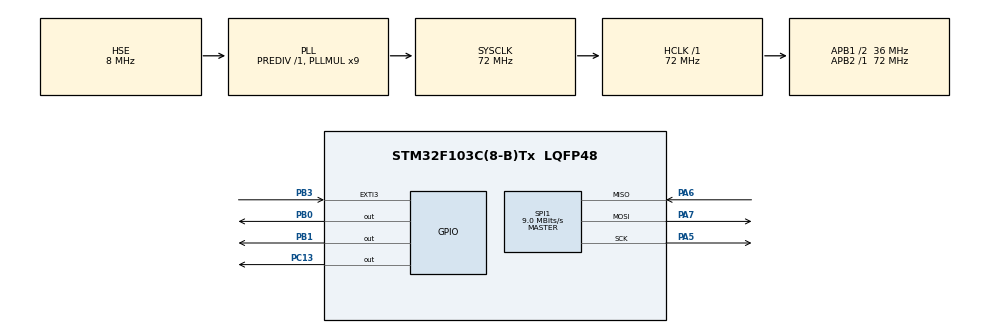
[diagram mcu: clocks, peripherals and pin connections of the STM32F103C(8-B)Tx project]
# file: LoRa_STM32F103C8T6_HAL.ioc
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Mcu.Family=STM32F1
Mcu.Name=STM32F103C(8-B)Tx
Mcu.Package=LQFP48
NVIC.EXTI3_IRQn=true\:0\:0\:false\:false\:true\:true\:true\:true
NVIC.PriorityGroup=NVIC_PRIORITYGROUP_4
PA13.Mode=Serial_Wire
PA13.Signal=SYS_JTMS-SWDIO
PA14.Mode=Serial_Wire
PA14.Signal=SYS_JTCK-SWCLK
PA5.Mode=Full_Duplex_Master
PA5.Signal=SPI1_SCK
PA6.Mode=Full_Duplex_Master
PA6.Signal=SPI1_MISO
PA7.Mode=Full_Duplex_Master
PA7.Signal=SPI1_MOSI
PB0.Signal=GPIO_Output
PB1.Signal=GPIO_Output
PB3.Signal=GPXTI3
PC13-TAMPER-RTC.Signal=GPIO_Output
PD0-OSC_IN.Mode=HSE-External-Oscillator
PD0-OSC_IN.Signal=RCC_OSC_IN
PD1-OSC_OUT.Mode=HSE-External-Oscillator
PD1-OSC_OUT.Signal=RCC_OSC_OUT
ProjectManager.HeapSize=0x200
ProjectManager.StackSize=0x400
ProjectManager.TargetToolchain=MDK-ARM V5.32
RCC.AHBFreq_Value=72000000
RCC.APB1CLKDivider=RCC_HCLK_DIV2
RCC.APB1Freq_Value=36000000
RCC.APB1TimFreq_Value=72000000
RCC.APB2Freq_Value=72000000
RCC.APB2TimFreq_Value=72000000
RCC.HCLKFreq_Value=72000000
RCC.PLLMUL=RCC_PLL_MUL9
RCC.PLLSourceVirtual=RCC_PLLSOURCE_HSE
RCC.SYSCLKFreq_VALUE=72000000
RCC.SYSCLKSource=RCC_SYSCLKSOURCE_PLLCLK
RCC.USBFreq_Value=72000000
SPI1.BaudRatePrescaler=SPI_BAUDRATEPRESCALER_8
SPI1.CalculateBaudRate=9.0 MBits/s
SPI1.Direction=SPI_DIRECTION_2LINES
SPI1.Mode=SPI_MODE_MASTER
SPI1.VirtualType=VM_MASTER
board=custom

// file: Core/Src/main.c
/* USER CODE BEGIN Header */
/**
  ******************************************************************************
  * @file           : main.c
  * @brief          : Main program body
  ******************************************************************************
  * @attention
  *
  * Copyright (c) 2024 STMicroelectronics.
  * All rights reserved.
  *
  * This software is licensed under terms that can be found in the LICENSE file
  * in the root directory of this software component.
  * If no LICENSE file comes with this software, it is provided AS-IS.
  *
  ******************************************************************************
  */
/* USER CODE END Header */
#include "main.h"

/* USER CODE BEGIN Includes */
#include "LoRa.h"
/* USER CODE END Includes */

SPI_HandleTypeDef hspi1;

void SystemClock_Config(void);
static void MX_GPIO_Init(void);
static void MX_SPI1_Init(void);

/* USER CODE BEGIN 0 */
LoRa myLoRa;
uint8_t TxBuffer[128];
uint8_t RxBuffer[128];
/* USER CODE END 0 */

int main(void)
{

  /* MCU Configuration--------------------------------------------------------*/

  /* Reset of all peripherals, Initializes the Flash interface and the Systick. */
  HAL_Init();

  /* Configure the system clock */
  SystemClock_Config();

  /* Initialize all configured peripherals */
  MX_GPIO_Init();
  MX_SPI1_Init();
  /* USER CODE BEGIN 2 */
	myLoRa.CS_port         = GPIOB;
  myLoRa.CS_pin          = GPIO_PIN_0;
  myLoRa.reset_port      = GPIOB;
  myLoRa.reset_pin       = GPIO_PIN_1;
  myLoRa.DIO0_port       = GPIOB;
  myLoRa.DIO0_pin        = GPIO_PIN_3;
  myLoRa.hSPIx           = &hspi1;

	myLoRa.frequency             = 433       ;
	myLoRa.spredingFactor        = SF_7      ;
	myLoRa.bandWidth			   = BW_125KHz ;
	myLoRa.crcRate               = CR_4_5    ;
	myLoRa.power				   = POWER_20db;
	myLoRa.overCurrentProtection = 100       ;
	myLoRa.preamble			   = 8 ;
	if( LoRa_init(&myLoRa) == LORA_NOT_FOUND) {
		for(uint8_t i =0; i < 10; i++) {
			HAL_GPIO_TogglePin(GPIOC,GPIO_PIN_13);
			HAL_Delay(100);
			}
		}
	else if(LoRa_init(&myLoRa) == LORA_OK) {
			for(uint8_t i =0; i < 10; i++) {
			HAL_GPIO_TogglePin(GPIOC,GPIO_PIN_13);
			HAL_Delay(500);
			}
		}
	else if(LoRa_init(&myLoRa) == LORA_LARGE_PAYLOAD) {
			for(uint8_t i =0; i < 4; i++) {
			HAL_GPIO_TogglePin(GPIOC,GPIO_PIN_13);
			HAL_Delay(2000);
			}
		}

	LoRa_startReceiving(&myLoRa);
	TxBuffer[0] = 'M'; TxBuffer[0] = 'i'; TxBuffer[0] = 'n'; TxBuffer[0] = 'h';
	TxBuffer[0] = 'N'; TxBuffer[0] = 'h'; TxBuffer[0] = 'a'; TxBuffer[0] = 'n';

  /* USER CODE END 2 */

  /* Infinite loop */
  while (1)
  {

    /* USER CODE BEGIN 3 */
		LoRa_transmit(&myLoRa,TxBuffer,8,100);
		HAL_Delay(500);
  }
  /* USER CODE END 3 */
}

void SystemClock_Config(void)
{
  RCC_OscInitTypeDef RCC_OscInitStruct = {0};
  RCC_ClkInitTypeDef RCC_ClkInitStruct = {0};

  /** Initializes the RCC Oscillators according to the specified parameters
  * in the RCC_OscInitTypeDef structure.
  */
  RCC_OscInitStruct.OscillatorType = RCC_OSCILLATORTYPE_HSE;
  RCC_OscInitStruct.HSEState = RCC_HSE_ON;
  RCC_OscInitStruct.HSEPredivValue = RCC_HSE_PREDIV_DIV1;
  RCC_OscInitStruct.HSIState = RCC_HSI_ON;
  RCC_OscInitStruct.PLL.PLLState = RCC_PLL_ON;
  RCC_OscInitStruct.PLL.PLLSource = RCC_PLLSOURCE_HSE;
  RCC_OscInitStruct.PLL.PLLMUL = RCC_PLL_MUL9;
  if (HAL_RCC_OscConfig(&RCC_OscInitStruct) != HAL_OK)
  {
    Error_Handler();
  }

  /** Initializes the CPU, AHB and APB buses clocks
  */
  RCC_ClkInitStruct.ClockType = RCC_CLOCKTYPE_HCLK|RCC_CLOCKTYPE_SYSCLK
                              |RCC_CLOCKTYPE_PCLK1|RCC_CLOCKTYPE_PCLK2;
  RCC_ClkInitStruct.SYSCLKSource = RCC_SYSCLKSOURCE_PLLCLK;
  RCC_ClkInitStruct.AHBCLKDivider = RCC_SYSCLK_DIV1;
  RCC_ClkInitStruct.APB1CLKDivider = RCC_HCLK_DIV2;
  RCC_ClkInitStruct.APB2CLKDivider = RCC_HCLK_DIV1;

  if (HAL_RCC_ClockConfig(&RCC_ClkInitStruct, FLASH_LATENCY_2) != HAL_OK)
  {
    Error_Handler();
  }
}

static void MX_SPI1_Init(void)
{

  /* SPI1 parameter configuration*/
  hspi1.Instance = SPI1;
  hspi1.Init.Mode = SPI_MODE_MASTER;
  hspi1.Init.Direction = SPI_DIRECTION_2LINES;
  hspi1.Init.DataSize = SPI_DATASIZE_8BIT;
  hspi1.Init.CLKPolarity = SPI_POLARITY_LOW;
  hspi1.Init.CLKPhase = SPI_PHASE_1EDGE;
  hspi1.Init.NSS = SPI_NSS_SOFT;
  hspi1.Init.BaudRatePrescaler = SPI_BAUDRATEPRESCALER_8;
  hspi1.Init.FirstBit = SPI_FIRSTBIT_MSB;
  hspi1.Init.TIMode = SPI_TIMODE_DISABLE;
  hspi1.Init.CRCCalculation = SPI_CRCCALCULATION_DISABLE;
  hspi1.Init.CRCPolynomial = 10;
  if (HAL_SPI_Init(&hspi1) != HAL_OK)
  {
    Error_Handler();
  }

}

static void MX_GPIO_Init(void)
{
  GPIO_InitTypeDef GPIO_InitStruct = {0};

  /* GPIO Ports Clock Enable */
  __HAL_RCC_GPIOC_CLK_ENABLE();
  __HAL_RCC_GPIOD_CLK_ENABLE();
  __HAL_RCC_GPIOA_CLK_ENABLE();
  __HAL_RCC_GPIOB_CLK_ENABLE();

  /*Configure GPIO pin Output Level */
  HAL_GPIO_WritePin(GPIOC, GPIO_PIN_13, GPIO_PIN_RESET);

  /*Configure GPIO pin Output Level */
  HAL_GPIO_WritePin(GPIOB, GPIO_PIN_0|GPIO_PIN_1, GPIO_PIN_RESET);

  /*Configure GPIO pin : PC13 */
  GPIO_InitStruct.Pin = GPIO_PIN_13;
  GPIO_InitStruct.Mode = GPIO_MODE_OUTPUT_PP;
  GPIO_InitStruct.Pull = GPIO_NOPULL;
  GPIO_InitStruct.Speed = GPIO_SPEED_FREQ_LOW;
  HAL_GPIO_Init(GPIOC, &GPIO_InitStruct);

  /*Configure GPIO pins : PB0 PB1 */
  GPIO_InitStruct.Pin = GPIO_PIN_0|GPIO_PIN_1;
  GPIO_InitStruct.Mode = GPIO_MODE_OUTPUT_PP;
  GPIO_InitStruct.Pull = GPIO_NOPULL;
  GPIO_InitStruct.Speed = GPIO_SPEED_FREQ_LOW;
  HAL_GPIO_Init(GPIOB, &GPIO_InitStruct);

  /*Configure GPIO pin : PB3 */
  GPIO_InitStruct.Pin = GPIO_PIN_3;
  GPIO_InitStruct.Mode = GPIO_MODE_IT_RISING;
  GPIO_InitStruct.Pull = GPIO_NOPULL;
  HAL_GPIO_Init(GPIOB, &GPIO_InitStruct);

  /* EXTI interrupt init*/
  HAL_NVIC_SetPriority(EXTI3_IRQn, 0, 0);
  HAL_NVIC_EnableIRQ(EXTI3_IRQn);

}

/* USER CODE BEGIN 4 */
void EXTI3_IRQHandler(void)
{
  /* USER CODE BEGIN EXTI2_IRQn 0 */
    LoRa_receive(&myLoRa,RxBuffer,128);
  /* USER CODE END EXTI2_IRQn 0 */
  HAL_GPIO_EXTI_IRQHandler(GPIO_PIN_3);
  /* USER CODE BEGIN EXTI2_IRQn 1 */

  /* USER CODE END EXTI2_IRQn 1 */
}
/* USER CODE END 4 */

void Error_Handler(void)
{
  __disable_irq();
  while (1)
  {
  }
}
